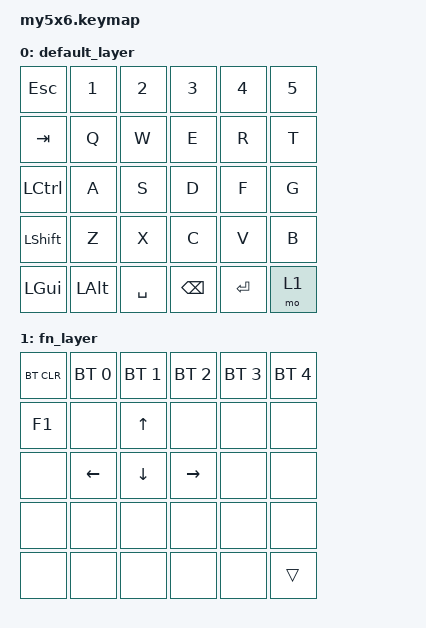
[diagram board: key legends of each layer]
#include <behaviors.dtsi>
#include <dt-bindings/zmk/keys.h>
#include <dt-bindings/zmk/bt.h>

/ {
    keymap {
        compatible = "zmk,keymap";

        default_layer {
            bindings = <
                &kp ESC     &kp N1    &kp N2    &kp N3    &kp N4    &kp N5
                &kp TAB     &kp Q     &kp W     &kp E     &kp R     &kp T
                &kp LCTRL   &kp A     &kp S     &kp D     &kp F     &kp G
                &kp LSHIFT  &kp Z     &kp X     &kp C     &kp V     &kp B
                &kp LGUI    &kp LALT  &kp SPACE &kp BSPC  &kp RET   &mo 1
            >;
        };

        fn_layer {
            bindings = <
                &bt BT_CLR  &bt BT_SEL 0 &bt BT_SEL 1 &bt BT_SEL 2 &bt BT_SEL 3 &bt BT_SEL 4
                &kp F1      &none        &kp UP       &none        &none        &none
                &none       &kp LEFT     &kp DOWN     &kp RIGHT    &none        &none
                &none       &none        &none        &none        &none        &none
                &none       &none        &none        &none        &none        &trans
            >;
        };
    };
};
